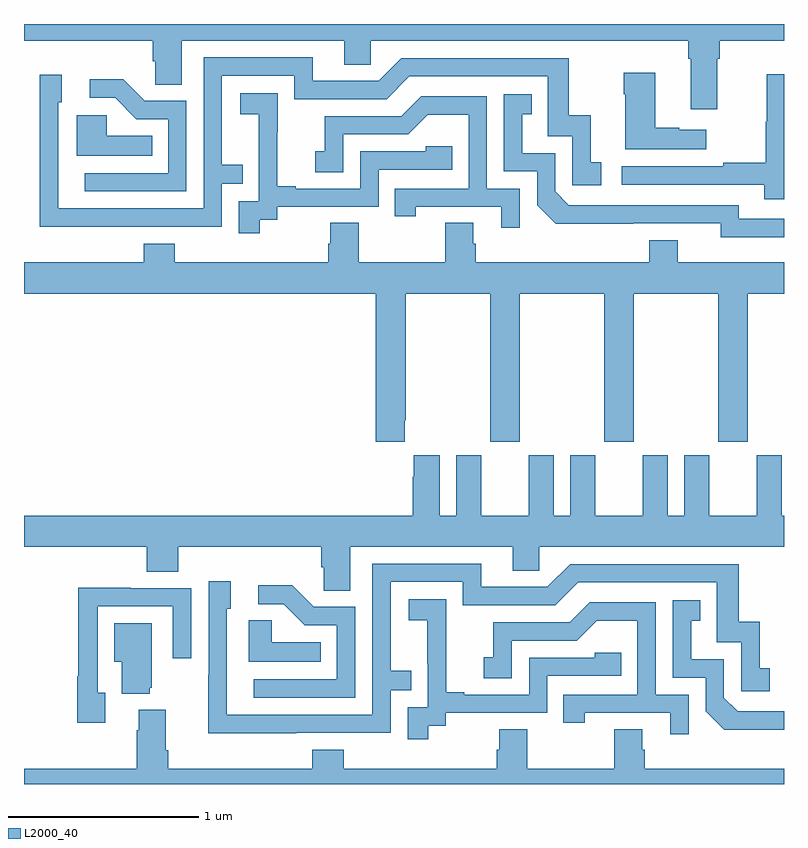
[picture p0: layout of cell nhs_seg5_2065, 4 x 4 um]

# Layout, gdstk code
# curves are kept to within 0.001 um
import gdstk
lib = gdstk.Library(unit=1e-6, precision=1e-09)
def P(c, l, *ps):  # polygons
    for p in ps: c.add(gdstk.Polygon(p, *l))
L2000_40 = (2000, 40)

nhs_seg5_2065 = lib.new_cell('nhs_seg5_2065')
P(nhs_seg5_2065, L2000_40, [(234.649,904.616),(234.662,904.616),(234.662,904.712),(235,904.712),(235,904.799),(231,904.799),(231,904.712),(231.677,904.712),(231.677,904.603),(231.69,904.603),(231.69,904.48),(231.829,904.48),(231.829,904.712),(232.685,904.712),(232.685,904.585),(232.824,904.585),(232.824,904.712),(234.497,904.712),(234.497,904.616),(234.509,904.616),(234.509,904.35),(234.649,904.35)],
  [(231.545,903.732),(232.041,903.732),(232.041,903.957),(232.151,903.957),(232.151,904.058),(232.041,904.058),(232.041,904.527),(232.422,904.527),(232.422,904.404),(232.908,904.404),(233.028,904.524),(233.757,904.524),(233.757,904.209),(233.886,904.209),(233.886,903.951),(234.037,903.951),(234.037,904.071),(233.984,904.071),(233.984,904.318),(233.866,904.318),(233.866,904.62),(232.986,904.62),(232.866,904.5),(232.519,904.5),(232.519,904.623),(231.945,904.623),(231.945,903.828),(231.181,903.828),(231.18,904.386),(231.199,904.386),(231.199,904.531),(231.084,904.531),(231.084,904.037),(231.082,904.037),(231.082,903.731)],
  [(234.592,904.243),(234.449,904.243),(234.449,904.253),(234.322,904.253),(234.322,904.543),(234.157,904.543),(234.157,904.43),(234.164,904.43),(234.164,904.139),(234.592,904.139)],
  [(235,904.534),(234.91,904.534),(234.91,904.284),(234.903,904.284),(234.903,904.07),(234.679,904.07),(234.679,904.05),(234.147,904.05),(234.147,903.954),(234.895,903.954),(234.895,903.876),(235,903.876)],
  [(231.855,904.395),(231.636,904.395),(231.523,904.508),(231.345,904.508),(231.345,904.41),(231.479,904.41),(231.59,904.299),(231.759,904.299),(231.759,904.014),(231.321,904.014),(231.321,903.918),(231.855,903.918)],
  [(232.24,903.769),(232.332,903.769),(232.332,903.837),(232.866,903.837),(232.866,904.032),(233.255,904.032),(233.255,904.155),(233.115,904.155),(233.115,904.128),(232.77,904.128),(232.77,903.933),(232.429,903.933),(232.429,903.946),(232.334,903.946),(232.334,904.229),(232.335,904.229),(232.335,904.435),(232.137,904.435),(232.137,904.325),(232.235,904.325),(232.235,904.097),(232.236,904.097),(232.236,903.867),(232.131,903.867),(232.131,903.699),(232.24,903.699)],
  [(235,903.774),(234.762,903.774),(234.762,903.846),(233.868,903.846),(233.796,903.918),(233.796,904.119),(233.623,904.119),(233.623,904.323),(233.672,904.323),(233.672,904.429),(233.526,904.429),(233.526,904.023),(233.7,904.023),(233.7,903.846),(233.798,903.749),(234.666,903.75),(234.666,903.677),(235,903.677)],
  [(233.61,903.933),(233.436,903.933),(233.436,904.419),(233.09,904.419),(232.985,904.314),(232.582,904.314),(232.582,904.129),(232.533,904.129),(232.533,904.02),(232.68,904.02),(232.68,904.218),(233.022,904.218),(233.126,904.322),(233.34,904.322),(233.34,903.933),(232.951,903.933),(232.951,903.786),(233.062,903.786),(233.062,903.837),(233.513,903.837),(233.513,903.726),(233.61,903.726)],
  [(231.674,904.21),(231.435,904.21),(231.435,904.318),(231.278,904.318),(231.278,904.106),(231.674,904.106)],
  [(233.378,903.642),(233.365,903.642),(233.365,903.752),(233.218,903.752),(233.218,903.544),(232.761,903.544),(232.761,903.752),(232.613,903.752),(232.613,903.642),(232.601,903.642),(232.601,903.544),(231.794,903.544),(231.794,903.643),(231.629,903.643),(231.629,903.544),(231,903.544),(231,903.38),(232.85,903.38),(232.85,902.601),(233.005,902.601),(233.005,902.713),(233.01,902.713),(233.01,903.38),(233.455,903.38),(233.455,902.601),(233.61,902.601),(233.61,903.38),(234.055,903.38),(234.055,902.601),(234.21,902.601),(234.21,903.38),(234.655,903.38),(234.655,902.601),(234.81,902.601),(234.81,903.38),(235,903.38),(235,903.544),(234.442,903.544),(234.442,903.661),(234.29,903.661),(234.29,903.544),(233.378,903.544)],
  [(232.717,902.048),(233.573,902.048),(233.573,901.921),(233.712,901.921),(233.712,902.048),(235,902.048),(235,902.212),(234.988,902.212),(234.988,902.53),(234.857,902.53),(234.857,902.212),(234.607,902.212),(234.607,902.53),(234.476,902.53),(234.476,902.212),(234.388,902.212),(234.388,902.53),(234.257,902.53),(234.257,902.212),(234.007,902.212),(234.007,902.53),(233.876,902.53),(233.876,902.212),(233.788,902.212),(233.788,902.53),(233.657,902.53),(233.657,902.212),(233.407,902.212),(233.407,902.53),(233.276,902.53),(233.276,902.212),(233.188,902.212),(233.188,902.53),(233.051,902.53),(233.051,902.417),(233.045,902.417),(233.045,902.212),(231,902.212),(231,902.048),(231.647,902.048),(231.647,901.915),(231.812,901.915),(231.812,902.048),(232.565,902.048),(232.565,901.939),(232.578,901.939),(232.578,901.816),(232.717,901.816)],
  [(232.433,901.068),(232.929,901.068),(232.929,901.293),(233.039,901.293),(233.039,901.394),(232.929,901.394),(232.929,901.863),(233.31,901.863),(233.31,901.74),(233.796,901.74),(233.916,901.86),(234.645,901.86),(234.645,901.545),(234.774,901.545),(234.774,901.287),(234.925,901.287),(234.925,901.407),(234.872,901.407),(234.872,901.654),(234.761,901.654),(234.761,901.956),(233.874,901.956),(233.754,901.836),(233.407,901.836),(233.407,901.959),(232.833,901.959),(232.833,901.164),(232.068,901.164),(232.068,901.722),(232.087,901.722),(232.087,901.867),(231.972,901.867),(231.972,901.373),(231.97,901.373),(231.97,901.067)],
  [(232.743,901.731),(232.524,901.731),(232.411,901.844),(232.233,901.844),(232.233,901.746),(232.367,901.746),(232.478,901.635),(232.647,901.635),(232.647,901.35),(232.209,901.35),(232.209,901.254),(232.743,901.254)],
  [(231.427,901.278),(231.387,901.278),(231.387,901.734),(231.783,901.734),(231.783,901.461),(231.879,901.461),(231.879,901.83),(231.563,901.83),(231.563,901.832),(231.286,901.832),(231.286,901.366),(231.279,901.366),(231.279,901.122),(231.427,901.122)],
  [(233.128,901.105),(233.22,901.105),(233.22,901.173),(233.754,901.173),(233.754,901.368),(234.143,901.368),(234.143,901.491),(234.003,901.491),(234.003,901.464),(233.658,901.464),(233.658,901.269),(233.317,901.269),(233.317,901.282),(233.222,901.282),(233.222,901.565),(233.223,901.565),(233.223,901.771),(233.025,901.771),(233.025,901.661),(233.123,901.661),(233.123,901.433),(233.124,901.433),(233.124,901.203),(233.019,901.203),(233.019,901.035),(233.128,901.035)],
  [(235,901.182),(234.756,901.182),(234.684,901.254),(234.684,901.455),(234.511,901.455),(234.511,901.659),(234.56,901.659),(234.56,901.765),(234.414,901.765),(234.414,901.359),(234.588,901.359),(234.588,901.182),(234.686,901.085),(235,901.085)],
  [(234.498,901.269),(234.324,901.269),(234.324,901.755),(233.978,901.755),(233.873,901.65),(233.47,901.65),(233.47,901.465),(233.421,901.465),(233.421,901.356),(233.568,901.356),(233.568,901.554),(233.91,901.554),(234.014,901.658),(234.228,901.658),(234.228,901.269),(233.839,901.269),(233.839,901.122),(233.95,901.122),(233.95,901.173),(234.401,901.173),(234.401,901.062),(234.498,901.062)],
  [(232.562,901.546),(232.305,901.546),(232.305,901.661),(232.184,901.661),(232.184,901.442),(232.562,901.442)],
  [(231.662,901.305),(231.673,901.305),(231.673,901.645),(231.476,901.645),(231.476,901.442),(231.515,901.442),(231.515,901.274),(231.662,901.274)],
  [(235,900.88),(234.266,900.88),(234.266,900.978),(234.253,900.978),(234.253,901.088),(234.106,901.088),(234.106,900.88),(233.649,900.88),(233.649,901.088),(233.501,901.088),(233.501,900.978),(233.489,900.978),(233.489,900.88),(232.682,900.88),(232.682,900.979),(232.517,900.979),(232.517,900.88),(231.758,900.88),(231.758,900.976),(231.745,900.976),(231.745,901.189),(231.605,901.189),(231.605,901.082),(231.593,901.082),(231.593,900.88),(231,900.88),(231,900.799),(235,900.799)])

lib.write_gds('nhs_seg5_2065.gds')
